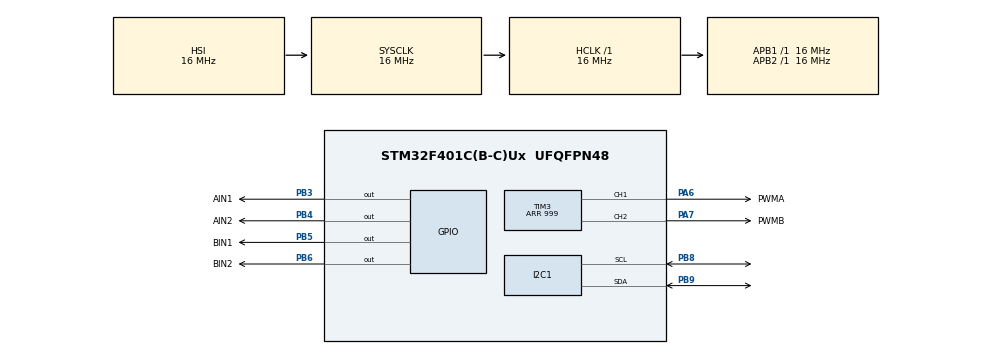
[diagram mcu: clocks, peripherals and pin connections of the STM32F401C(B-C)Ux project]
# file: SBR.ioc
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I2C1.I2C_Mode=I2C_Fast
Mcu.Family=STM32F4
Mcu.Name=STM32F401C(B-C)Ux
Mcu.Package=UFQFPN48
NVIC.PriorityGroup=NVIC_PRIORITYGROUP_4
PA6.GPIO_Label=PWMA
PA6.GPIO_Speed=GPIO_SPEED_FREQ_HIGH
PA6.Signal=S_TIM3_CH1
PA7.GPIO_Label=PWMB
PA7.GPIO_Speed=GPIO_SPEED_FREQ_HIGH
PA7.Signal=S_TIM3_CH2
PB3.GPIO_Label=AIN1
PB3.GPIO_PuPd=GPIO_PULLDOWN
PB3.GPIO_Speed=GPIO_SPEED_FREQ_HIGH
PB3.Signal=GPIO_Output
PB4.GPIO_Label=AIN2
PB4.GPIO_PuPd=GPIO_PULLDOWN
PB4.GPIO_Speed=GPIO_SPEED_FREQ_HIGH
PB4.Signal=GPIO_Output
PB5.GPIO_Label=BIN1
PB5.GPIO_PuPd=GPIO_PULLDOWN
PB5.GPIO_Speed=GPIO_SPEED_FREQ_HIGH
PB5.Signal=GPIO_Output
PB6.GPIO_Label=BIN2
PB6.GPIO_PuPd=GPIO_PULLDOWN
PB6.GPIO_Speed=GPIO_SPEED_FREQ_HIGH
PB6.Signal=GPIO_Output
PB8.GPIO_Pu=GPIO_PULLUP
PB8.Mode=I2C
PB8.Signal=I2C1_SCL
PB9.GPIO_Pu=GPIO_PULLUP
PB9.Mode=I2C
PB9.Signal=I2C1_SDA
ProjectManager.HeapSize=0x200
ProjectManager.StackSize=0x400
ProjectManager.TargetToolchain=CMake
RCC.AHBFreq_Value=16000000
RCC.APB1Freq_Value=16000000
RCC.APB2Freq_Value=16000000
RCC.CortexFreq_Value=16000000
RCC.HSE_VALUE=25000000
RCC.HSI_VALUE=16000000
RCC.LSE_VALUE=32768
RCC.SYSCLKFreq_VALUE=16000000
RCC.VCOOutputFreq_Value=192000000
SH.S_TIM3_CH1.0=TIM3_CH1,PWM Generation1 CH1
SH.S_TIM3_CH2.0=TIM3_CH2,PWM Generation2 CH2
TIM3.Channel-PWM\ Generation1\ CH1=TIM_CHANNEL_1
TIM3.Channel-PWM\ Generation2\ CH2=TIM_CHANNEL_2
TIM3.Period=999
VP_TIM3_VS_ClockSourceINT.Mode=Internal
board=custom

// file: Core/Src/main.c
/* USER CODE BEGIN Header */
/**
  ******************************************************************************
  * @file           : main.c
  * @brief          : Main program body
  ******************************************************************************
  * @attention
  *
  * Copyright (c) 2026 STMicroelectronics.
  * All rights reserved.
  *
  * This software is licensed under terms that can be found in the LICENSE file
  * in the root directory of this software component.
  * If no LICENSE file comes with this software, it is provided AS-IS.
  *
  ******************************************************************************
  */
/* USER CODE END Header */
#include "main.h"
#include "stm32f4xx_hal_gpio.h"
#include "stm32f4xx_hal_i2c.h"
#include "stm32f4xx_hal_tim.h"
#include <stdint.h>
#include <sys/types.h>

/* USER CODE BEGIN PD */
#define MPU6550_ADDR 0x68 << 1
#define ACCEL_XOUT_H  0x3B
#define MAX_PWM 999
/* USER CODE END PD */

I2C_HandleTypeDef hi2c1;

TIM_HandleTypeDef htim3;

/* USER CODE BEGIN PV */
int16_t ax_raw, ay_raw, az_raw;
uint8_t acc_buffer[6];
/* USER CODE END PV */

void SystemClock_Config(void);
static void MX_GPIO_Init(void);
static void MX_TIM3_Init(void);
static void MX_I2C1_Init(void);

int main(void)
{

  /* MCU Configuration--------------------------------------------------------*/

  /* Reset of all peripherals, Initializes the Flash interface and the Systick. */
  HAL_Init();

  /* Configure the system clock */
  SystemClock_Config();

  /* Initialize all configured peripherals */
  MX_GPIO_Init();
  MX_TIM3_Init();
  MX_I2C1_Init();
  /* USER CODE BEGIN 2 */
  HAL_TIM_PWM_Start( &htim3, TIM_CHANNEL_1);
  HAL_TIM_PWM_Start(&htim3, TIM_CHANNEL_2);

  __HAL_TIM_SET_COMPARE(&htim3, TIM_CHANNEL_1, 0);
  __HAL_TIM_SET_COMPARE(&htim3, TIM_CHANNEL_2, 0);

  /* USER CODE END 2 */

  /* Infinite loop */
  while (1)
  {

    /* USER CODE BEGIN 3 */
    HAL_I2C_Mem_Read(&hi2c1, MPU6550_ADDR, ACCEL_XOUT_H, I2C_MEMADD_SIZE_8BIT, acc_buffer, 6, 100);

    ax_raw = (int16_t)((acc_buffer[0] << 8) | acc_buffer[1]);
    ay_raw = (int16_t)((acc_buffer[2] << 8) | acc_buffer[3]);
    az_raw = (int16_t)((acc_buffer[4] << 8) | acc_buffer[5]);

    uint16_t ax = (ax_raw >= 0) ? ax_raw : -ax_raw;
    ax = ax/10;
    if (ax > MAX_PWM) {
      ax = MAX_PWM;
    }
    // scale down to fit in 0-999 for PWM duty cycle

    // USB SIDE
    if (ax_raw > 1000) {
      __HAL_TIM_SET_COMPARE(&htim3, TIM_CHANNEL_1, ax);
      HAL_GPIO_WritePin(AIN1_GPIO_Port, AIN1_Pin, GPIO_PIN_SET);
      HAL_GPIO_WritePin(AIN2_GPIO_Port, AIN2_Pin, GPIO_PIN_RESET);

      __HAL_TIM_SET_COMPARE(&htim3, TIM_CHANNEL_2, ax);
      HAL_GPIO_WritePin(BIN1_GPIO_Port, BIN1_Pin, GPIO_PIN_SET);
      HAL_GPIO_WritePin(BIN2_GPIO_Port, BIN2_Pin, GPIO_PIN_RESET);

    }
    // PIN SIDE
    else if (ax_raw < -1000) {
      __HAL_TIM_SET_COMPARE(&htim3, TIM_CHANNEL_1, ax);
      HAL_GPIO_WritePin(AIN1_GPIO_Port, AIN1_Pin, GPIO_PIN_RESET);
      HAL_GPIO_WritePin(AIN2_GPIO_Port, AIN2_Pin, GPIO_PIN_SET);

      __HAL_TIM_SET_COMPARE(&htim3, TIM_CHANNEL_2, ax);
      HAL_GPIO_WritePin(BIN1_GPIO_Port, BIN1_Pin, GPIO_PIN_RESET);
      HAL_GPIO_WritePin(BIN2_GPIO_Port, BIN2_Pin, GPIO_PIN_SET);

    }
    else {
        // upright → stop everything
        ax = 0;
        __HAL_TIM_SET_COMPARE(&htim3, TIM_CHANNEL_1, 0);
        __HAL_TIM_SET_COMPARE(&htim3, TIM_CHANNEL_2, 0);
    }

    }
  /* USER CODE END 3 */
}

void SystemClock_Config(void)
{
  RCC_OscInitTypeDef RCC_OscInitStruct = {0};
  RCC_ClkInitTypeDef RCC_ClkInitStruct = {0};

  /** Configure the main internal regulator output voltage
  */
  __HAL_RCC_PWR_CLK_ENABLE();
  __HAL_PWR_VOLTAGESCALING_CONFIG(PWR_REGULATOR_VOLTAGE_SCALE2);

  /** Initializes the RCC Oscillators according to the specified parameters
  * in the RCC_OscInitTypeDef structure.
  */
  RCC_OscInitStruct.OscillatorType = RCC_OSCILLATORTYPE_HSI;
  RCC_OscInitStruct.HSIState = RCC_HSI_ON;
  RCC_OscInitStruct.HSICalibrationValue = RCC_HSICALIBRATION_DEFAULT;
  RCC_OscInitStruct.PLL.PLLState = RCC_PLL_NONE;
  if (HAL_RCC_OscConfig(&RCC_OscInitStruct) != HAL_OK)
  {
    Error_Handler();
  }

  /** Initializes the CPU, AHB and APB buses clocks
  */
  RCC_ClkInitStruct.ClockType = RCC_CLOCKTYPE_HCLK|RCC_CLOCKTYPE_SYSCLK
                              |RCC_CLOCKTYPE_PCLK1|RCC_CLOCKTYPE_PCLK2;
  RCC_ClkInitStruct.SYSCLKSource = RCC_SYSCLKSOURCE_HSI;
  RCC_ClkInitStruct.AHBCLKDivider = RCC_SYSCLK_DIV1;
  RCC_ClkInitStruct.APB1CLKDivider = RCC_HCLK_DIV1;
  RCC_ClkInitStruct.APB2CLKDivider = RCC_HCLK_DIV1;

  if (HAL_RCC_ClockConfig(&RCC_ClkInitStruct, FLASH_LATENCY_0) != HAL_OK)
  {
    Error_Handler();
  }
}

static void MX_I2C1_Init(void)
{

  hi2c1.Instance = I2C1;
  hi2c1.Init.ClockSpeed = 400000;
  hi2c1.Init.DutyCycle = I2C_DUTYCYCLE_2;
  hi2c1.Init.OwnAddress1 = 0;
  hi2c1.Init.AddressingMode = I2C_ADDRESSINGMODE_7BIT;
  hi2c1.Init.DualAddressMode = I2C_DUALADDRESS_DISABLE;
  hi2c1.Init.OwnAddress2 = 0;
  hi2c1.Init.GeneralCallMode = I2C_GENERALCALL_DISABLE;
  hi2c1.Init.NoStretchMode = I2C_NOSTRETCH_DISABLE;
  if (HAL_I2C_Init(&hi2c1) != HAL_OK)
  {
    Error_Handler();
  }

}

static void MX_TIM3_Init(void)
{

  TIM_ClockConfigTypeDef sClockSourceConfig = {0};
  TIM_MasterConfigTypeDef sMasterConfig = {0};
  TIM_OC_InitTypeDef sConfigOC = {0};

  htim3.Instance = TIM3;
  htim3.Init.Prescaler = 0;
  htim3.Init.CounterMode = TIM_COUNTERMODE_UP;
  htim3.Init.Period = 999;
  htim3.Init.ClockDivision = TIM_CLOCKDIVISION_DIV1;
  htim3.Init.AutoReloadPreload = TIM_AUTORELOAD_PRELOAD_DISABLE;
  if (HAL_TIM_Base_Init(&htim3) != HAL_OK)
  {
    Error_Handler();
  }
  sClockSourceConfig.ClockSource = TIM_CLOCKSOURCE_INTERNAL;
  if (HAL_TIM_ConfigClockSource(&htim3, &sClockSourceConfig) != HAL_OK)
  {
    Error_Handler();
  }
  if (HAL_TIM_PWM_Init(&htim3) != HAL_OK)
  {
    Error_Handler();
  }
  sMasterConfig.MasterOutputTrigger = TIM_TRGO_RESET;
  sMasterConfig.MasterSlaveMode = TIM_MASTERSLAVEMODE_DISABLE;
  if (HAL_TIMEx_MasterConfigSynchronization(&htim3, &sMasterConfig) != HAL_OK)
  {
    Error_Handler();
  }
  sConfigOC.OCMode = TIM_OCMODE_PWM1;
  sConfigOC.Pulse = 0;
  sConfigOC.OCPolarity = TIM_OCPOLARITY_HIGH;
  sConfigOC.OCFastMode = TIM_OCFAST_DISABLE;
  if (HAL_TIM_PWM_ConfigChannel(&htim3, &sConfigOC, TIM_CHANNEL_1) != HAL_OK)
  {
    Error_Handler();
  }
  if (HAL_TIM_PWM_ConfigChannel(&htim3, &sConfigOC, TIM_CHANNEL_2) != HAL_OK)
  {
    Error_Handler();
  }
  HAL_TIM_MspPostInit(&htim3);

}

static void MX_GPIO_Init(void)
{
  GPIO_InitTypeDef GPIO_InitStruct = {0};

  /* GPIO Ports Clock Enable */
  __HAL_RCC_GPIOA_CLK_ENABLE();
  __HAL_RCC_GPIOB_CLK_ENABLE();

  /*Configure GPIO pin Output Level */
  HAL_GPIO_WritePin(GPIOB, AIN1_Pin|AIN2_Pin|BIN1_Pin|BIN2_Pin, GPIO_PIN_RESET);

  /*Configure GPIO pins : AIN1_Pin AIN2_Pin BIN1_Pin BIN2_Pin */
  GPIO_InitStruct.Pin = AIN1_Pin|AIN2_Pin|BIN1_Pin|BIN2_Pin;
  GPIO_InitStruct.Mode = GPIO_MODE_OUTPUT_PP;
  GPIO_InitStruct.Pull = GPIO_PULLDOWN;
  GPIO_InitStruct.Speed = GPIO_SPEED_FREQ_HIGH;
  HAL_GPIO_Init(GPIOB, &GPIO_InitStruct);

}

void Error_Handler(void)
{
  __disable_irq();
  while (1)
  {
  }
}
